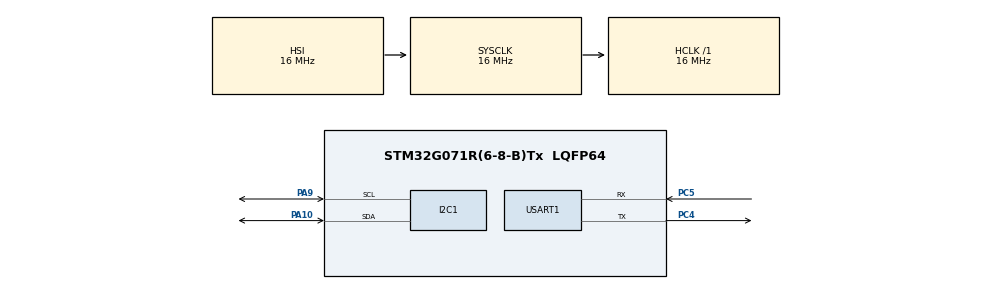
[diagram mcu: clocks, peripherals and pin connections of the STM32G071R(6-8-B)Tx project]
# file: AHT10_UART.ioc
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Mcu.Family=STM32G0
Mcu.Name=STM32G071R(6-8-B)Tx
Mcu.Package=LQFP64
NVIC.I2C1_IRQn=true\:0\:0\:false\:false\:true\:true\:true
NVIC.USART1_IRQn=true\:0\:0\:false\:false\:true\:true\:true
PA10.Mode=I2C
PA10.Signal=I2C1_SDA
PA9.Mode=I2C
PA9.Signal=I2C1_SCL
PC4.Mode=Asynchronous
PC4.Signal=USART1_TX
PC5.Mode=Asynchronous
PC5.Signal=USART1_RX
ProjectManager.HeapSize=0x200
ProjectManager.StackSize=0x400
ProjectManager.TargetToolchain=STM32CubeIDE
RCC.AHBFreq_Value=16000000
RCC.CortexFreq_Value=16000000
RCC.EXTERNAL_CLOCK_VALUE=48000
RCC.HCLKFreq_Value=16000000
RCC.HSE_VALUE=8000000
RCC.HSI_VALUE=16000000
RCC.LSE_VALUE=32768
RCC.SYSCLKFreq_VALUE=16000000
RCC.VCOOutputFreq_Value=128000000
USART1.VirtualMode-Asynchronous=VM_ASYNC
VP_SYS_VS_DBSignals.Mode=DisableDeadBatterySignals
board=custom

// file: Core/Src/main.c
/* USER CODE BEGIN Header */
/**
  ******************************************************************************
  * @file           : main.c
  * @brief          : Main program body
  ******************************************************************************
  * @attention
  *
  * <h2><center>&copy; Copyright (c) 2020 STMicroelectronics.
  * All rights reserved.</center></h2>
  *
  * This software component is licensed by ST under BSD 3-Clause license,
  * the "License"; You may not use this file except in compliance with the
  * License. You may obtain a copy of the License at:
  *                        opensource.org/licenses/BSD-3-Clause
  *
  ******************************************************************************
  */
/* USER CODE END Header */
#include "main.h"
#include "i2c.h"
#include "usart.h"
#include "gpio.h"

/* USER CODE BEGIN Includes */
#include <string.h>

#include "AHT10.h"

/* USER CODE END Includes */

/* USER CODE BEGIN PTD */
#define RXBUFFERSIZE  10     //串口接收字节数

/* USER CODE END PTD */

/* USER CODE BEGIN PV */
char RxBuffer[RXBUFFERSIZE];   //接收数据
uint8_t aRxBuffer;			//接收中断缓冲
uint8_t Uart1_Rx_Cnt = 0;		//接收缓冲计数
/* USER CODE END PV */

void SystemClock_Config(void);

int main(void)
{

  /* MCU Configuration--------------------------------------------------------*/

  /* Reset of all peripherals, Initializes the Flash interface and the Systick. */
  HAL_Init();

  /* Configure the system clock */
  SystemClock_Config();

  /* Initialize all configured peripherals */
  MX_GPIO_Init();
  MX_I2C1_Init();
  MX_USART1_UART_Init();
  /* USER CODE BEGIN 2 */
  HAL_UART_Receive_IT(&huart1, (uint8_t *)&aRxBuffer, 1);		//使能串口1中断
  AHT10Init();
  //OLED_Init();
  /* USER CODE END 2 */

  /* Infinite loop */
  while (1)
  {
    /* USER CODE BEGIN 3 */
	  HAL_GPIO_WritePin(GPIOA,GPIO_PIN_5,GPIO_PIN_SET);
	  HAL_Delay(500);
	  HAL_GPIO_WritePin(GPIOA,GPIO_PIN_5,GPIO_PIN_RESET);
	  HAL_Delay(500);

#if 1

	  float temp;
	  float hum;
	  AHT10ReadData(&temp,&hum);
	  printf("Temp:%.1f,hum:%.1f\r\n",temp,hum);
#endif
	  HAL_Delay(1000);
  }
  /* USER CODE END 3 */
}

void SystemClock_Config(void)
{
  RCC_OscInitTypeDef RCC_OscInitStruct = {0};
  RCC_ClkInitTypeDef RCC_ClkInitStruct = {0};
  RCC_PeriphCLKInitTypeDef PeriphClkInit = {0};

  /** Configure the main internal regulator output voltage
  */
  HAL_PWREx_ControlVoltageScaling(PWR_REGULATOR_VOLTAGE_SCALE1);
  /** Initializes the RCC Oscillators according to the specified parameters
  * in the RCC_OscInitTypeDef structure.
  */
  RCC_OscInitStruct.OscillatorType = RCC_OSCILLATORTYPE_HSI;
  RCC_OscInitStruct.HSIState = RCC_HSI_ON;
  RCC_OscInitStruct.HSIDiv = RCC_HSI_DIV1;
  RCC_OscInitStruct.HSICalibrationValue = RCC_HSICALIBRATION_DEFAULT;
  RCC_OscInitStruct.PLL.PLLState = RCC_PLL_NONE;
  if (HAL_RCC_OscConfig(&RCC_OscInitStruct) != HAL_OK)
  {
    Error_Handler();
  }
  /** Initializes the CPU, AHB and APB buses clocks
  */
  RCC_ClkInitStruct.ClockType = RCC_CLOCKTYPE_HCLK|RCC_CLOCKTYPE_SYSCLK
                              |RCC_CLOCKTYPE_PCLK1;
  RCC_ClkInitStruct.SYSCLKSource = RCC_SYSCLKSOURCE_HSI;
  RCC_ClkInitStruct.AHBCLKDivider = RCC_SYSCLK_DIV1;
  RCC_ClkInitStruct.APB1CLKDivider = RCC_HCLK_DIV1;

  if (HAL_RCC_ClockConfig(&RCC_ClkInitStruct, FLASH_LATENCY_0) != HAL_OK)
  {
    Error_Handler();
  }
  /** Initializes the peripherals clocks
  */
  PeriphClkInit.PeriphClockSelection = RCC_PERIPHCLK_USART1|RCC_PERIPHCLK_I2C1;
  PeriphClkInit.Usart1ClockSelection = RCC_USART1CLKSOURCE_PCLK1;
  PeriphClkInit.I2c1ClockSelection = RCC_I2C1CLKSOURCE_PCLK1;
  if (HAL_RCCEx_PeriphCLKConfig(&PeriphClkInit) != HAL_OK)
  {
    Error_Handler();
  }
}

/* USER CODE BEGIN 4 */

void HAL_UART_RxCpltCallback(UART_HandleTypeDef *huart)
{
	/* Prevent unused argument(s) compilation warning */
	UNUSED(huart);
	/* NOTE: This function Should not be modified, when the callback is needed,
		   the HAL_UART_TxCpltCallback could be implemented in the user file
	*/
	if(huart->Instance == USART1)
	{
		HAL_UART_Transmit(&huart1,"串口1中断\r\n",strlen("串口1中断\r\n"),0x200);
		HAL_UART_Receive_IT(&huart1, (uint8_t *)&RxBuffer, sizeof(RxBuffer));	                   //再次使能接受中断
	}
#if 0
	if(huart->Instance == USART2)
	{
		HAL_UART_Transmit(&huart1,"串口2中断\r\n",strlen("串口2中断\r\n"),0x200);
		HAL_UART_Receive_IT(&huart2, recv_data,1);
	}
#endif
#if 0
	if(Uart1_Rx_Cnt >= 10)  //溢出判断
	{
		Uart1_Rx_Cnt = 0;
		memset(RxBuffer,0x00,sizeof(RxBuffer));
		HAL_UART_Transmit(&huart1, (uint8_t *)"数据溢出", 10,0xFFFF);

	}
	else
	{
		// HAL_GPIO_TogglePin(GPIOA,GPIO_PIN_5);
		RxBuffer[Uart1_Rx_Cnt++] = aRxBuffer;   //接收数据转存

		if((RxBuffer[Uart1_Rx_Cnt-1] == 0x0A)&&(RxBuffer[Uart1_Rx_Cnt-2] == 0x0D)) //判断结束�???
		{
			HAL_UART_Transmit(&huart1, (uint8_t *)&RxBuffer, Uart1_Rx_Cnt,0xFFFF); //将收到的信息发�?�出�???
			while(HAL_UART_GetState(&huart1) == HAL_UART_STATE_BUSY_TX);//�???测UART发�?�结�???
			Uart1_Rx_Cnt = 0;
			memset(RxBuffer,0x00,sizeof(RxBuffer)); //清空数组
		}
	}
#endif
	//HAL_UART_Receive_IT(&huart1, (uint8_t *)&aRxBuffer, 1);   //再开启接收中�???
    //HAL_UART_Transmit(&huart1, (uint8_t *)aRxBuffer, 1,0xFFFF);
    //HAL_UART_Receive_IT(&huart1, (uint8_t *)aRxBuffer, 1);
}
/* USER CODE END 4 */

void Error_Handler(void)
{
}

/************************ (C) COPYRIGHT STMicroelectronics *****END OF FILE****/
